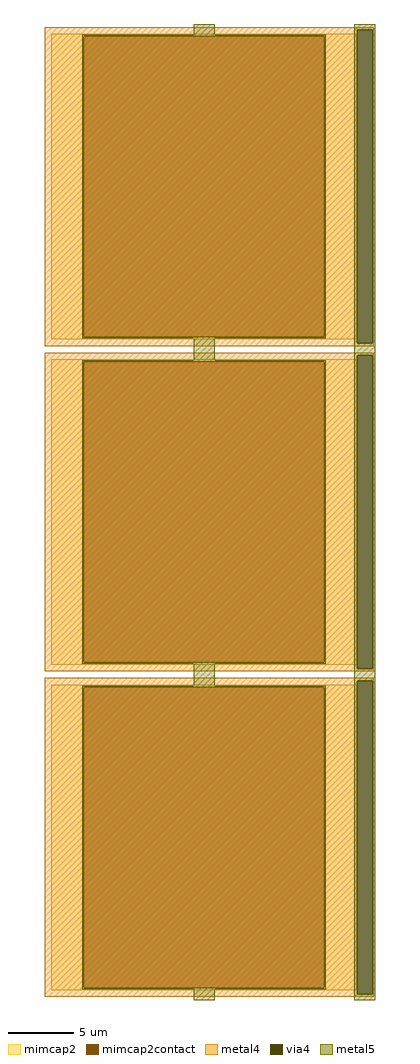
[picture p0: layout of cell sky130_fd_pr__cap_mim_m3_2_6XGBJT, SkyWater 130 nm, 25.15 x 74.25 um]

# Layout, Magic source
magic
tech sky130A
magscale 1 2
<< metal4 >>
rect -2504 7334 2504 7375
rect -2504 2566 2248 7334
rect 2484 2566 2504 7334
rect -2504 2525 2504 2566
rect -2504 2384 2504 2425
rect -2504 -2384 2248 2384
rect 2484 -2384 2504 2384
rect -2504 -2425 2504 -2384
rect -2504 -2566 2504 -2525
rect -2504 -7334 2248 -2566
rect 2484 -7334 2504 -2566
rect -2504 -7375 2504 -7334
<< via4 >>
rect 2248 2566 2484 7334
rect 2248 -2384 2484 2384
rect 2248 -7334 2484 -2566
<< mimcap2 >>
rect -2404 7235 2246 7275
rect -2404 2665 -1907 7235
rect 1749 2665 2246 7235
rect -2404 2625 2246 2665
rect -2404 2285 2246 2325
rect -2404 -2285 -1907 2285
rect 1749 -2285 2246 2285
rect -2404 -2325 2246 -2285
rect -2404 -2665 2246 -2625
rect -2404 -7235 -1907 -2665
rect 1749 -7235 2246 -2665
rect -2404 -7275 2246 -7235
<< mimcap2contact >>
rect -1907 2665 1749 7235
rect -1907 -2285 1749 2285
rect -1907 -7235 1749 -2665
<< metal5 >>
rect -239 7259 81 7425
rect 2206 7334 2526 7425
rect -1931 7235 1773 7259
rect -1931 2665 -1907 7235
rect 1749 2665 1773 7235
rect -1931 2641 1773 2665
rect -239 2309 81 2641
rect 2206 2566 2248 7334
rect 2484 2566 2526 7334
rect 2206 2384 2526 2566
rect -1931 2285 1773 2309
rect -1931 -2285 -1907 2285
rect 1749 -2285 1773 2285
rect -1931 -2309 1773 -2285
rect -239 -2641 81 -2309
rect 2206 -2384 2248 2384
rect 2484 -2384 2526 2384
rect 2206 -2566 2526 -2384
rect -1931 -2665 1773 -2641
rect -1931 -7235 -1907 -2665
rect 1749 -7235 1773 -2665
rect -1931 -7259 1773 -7235
rect -239 -7425 81 -7259
rect 2206 -7334 2248 -2566
rect 2484 -7334 2526 -2566
rect 2206 -7425 2526 -7334
<< properties >>
string FIXED_BBOX -2504 2525 2346 7375
string gencell sky130_fd_pr__cap_mim_m3_2
string library sky130
string parameters w 23.25 l 23.25 val 1.098k carea 2.00 cperi 0.19 nx 1 ny 3 dummy 0 square 0 lmin 2.00 wmin 2.00 lmax 30.0 wmax 30.0 dc 0 bconnect 1 tconnect 1 ccov 80
<< end >>
